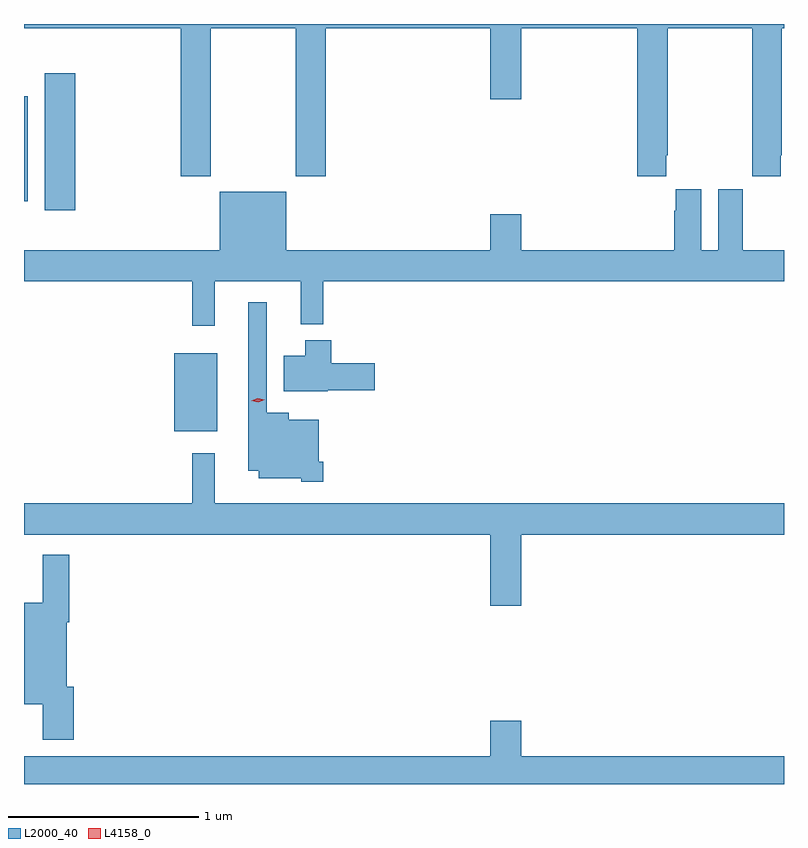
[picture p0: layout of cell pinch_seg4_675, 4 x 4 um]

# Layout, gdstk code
import gdstk
lib = gdstk.Library(unit=1e-6, precision=1e-09)
def R(c, l, rs):  # rectangles x0, y0, x1, y1
    for r in rs: c.add(gdstk.rectangle(r[:2], r[2:], *l))
def P(c, l, *ps):  # polygons
    for p in ps: c.add(gdstk.Polygon(p, *l))
L2000_40 = (2000, 40)
L4158_0 = (4158, 0)

pinch_seg4_675 = lib.new_cell('pinch_seg4_675')
R(pinch_seg4_675, L2000_40, [(1086.422,754.739,1086.649,755.149), (1085.741,755.904,1085.902,756.625), (1085.631,755.95,1085.652,756.502)])
P(pinch_seg4_675, L2000_40, [(1086.615,756.86),(1087.06,756.86),(1087.06,756.081),(1087.22,756.081),(1087.22,756.86),(1088.084,756.86),(1088.084,756.486),(1088.248,756.486),(1088.248,756.86),(1088.858,756.86),(1088.858,756.081),(1089.011,756.081),(1089.011,756.193),(1089.018,756.193),(1089.018,756.86),(1089.463,756.86),(1089.463,756.193),(1089.465,756.193),(1089.465,756.081),(1089.615,756.081),(1089.615,756.193),(1089.618,756.193),(1089.618,756.86),(1089.631,756.86),(1089.631,756.883),(1085.631,756.883),(1085.631,756.86),(1086.455,756.86),(1086.455,756.081),(1086.615,756.081)],
  [(1089.414,755.9),(1089.414,756.013),(1089.284,756.013),(1089.284,755.692),(1089.196,755.692),(1089.196,756.013),(1089.062,756.013),(1089.062,755.9),(1089.053,755.9),(1089.053,755.692),(1088.248,755.692),(1088.248,755.881),(1088.084,755.881),(1088.084,755.692),(1087.012,755.692),(1087.012,756.001),(1086.662,756.001),(1086.662,755.692),(1085.631,755.692),(1085.631,755.528),(1086.517,755.528),(1086.517,755.295),(1086.635,755.295),(1086.635,755.528),(1087.088,755.528),(1087.088,755.303),(1087.205,755.303),(1087.205,755.528),(1089.631,755.528),(1089.631,755.692),(1089.415,755.692),(1089.415,755.9)],
  [(1087.205,754.579),(1087.183,754.579),(1087.183,754.801),(1087.024,754.801),(1087.024,754.837),(1086.909,754.837),(1086.909,755.419),(1086.812,755.419),(1086.812,754.532),(1086.866,754.532),(1086.866,754.493),(1087.089,754.493),(1087.089,754.475),(1087.205,754.475)],
  [(1087.23,754.955),(1087.477,754.955),(1087.477,755.097),(1087.247,755.097),(1087.247,755.218),(1087.112,755.218),(1087.112,755.137),(1086.998,755.137),(1086.998,754.949),(1087.23,754.949)],
  [(1088.248,754.196),(1089.631,754.196),(1089.631,754.36),(1086.636,754.36),(1086.636,754.624),(1086.517,754.624),(1086.517,754.36),(1085.631,754.36),(1085.631,754.196),(1088.084,754.196),(1088.084,753.822),(1088.248,753.822)],
  [(1085.894,753.396),(1085.857,753.396),(1085.857,753.734),(1085.87,753.734),(1085.87,754.09),(1085.729,754.09),(1085.729,753.838),(1085.631,753.838),(1085.631,753.303),(1085.729,753.303),(1085.729,753.117),(1085.894,753.117)],
  [(1089.631,753.028),(1088.248,753.028),(1088.248,753.217),(1088.084,753.217),(1088.084,753.028),(1085.631,753.028),(1085.631,752.883),(1089.631,752.883)])
P(pinch_seg4_675, L4158_0, [(1086.864,754.892),(1086.827,754.9),(1086.827,754.9),(1086.827,754.9),(1086.862,754.912),(1086.898,754.905),(1086.899,754.905),(1086.898,754.905)])

lib.write_gds('pinch_seg4_675.gds')
